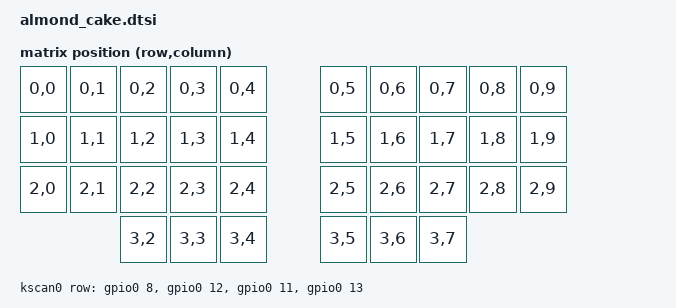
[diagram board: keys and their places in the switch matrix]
#include <dt-bindings/zmk/matrix_transform.h>

/ {
    chosen {
        zephyr,display = &oled;
        zmk,kscan = &kscan0;
        zmk,matrix-transform = &default_transform;
    };

    default_transform: keymap_transform_0 {
        compatible = "zmk,matrix-transform";
        columns = <10>;
        rows = <4>;
// | SW1  | SW2  | SW3  | SW4  | SW5  |   | SW5  | SW4  | SW3  | SW2  | SW1  |
// | SW6  | SW7  | SW8  | SW9  | SW10 |   | SW10 | SW9  | SW8  | SW7  | SW6  |
// | SW11 | SW12 | SW13 | SW14 | SW15 |   | SW15 | SW14 | SW13 | SW12 | SW11 |
//               | SW16 | SW17 | SW18 |   | SW18 | SW17 | SW16 |
        map = <
RC(0,0) RC(0,1) RC(0,2) RC(0,3) RC(0,4)  RC(0,5) RC(0,6) RC(0,7) RC(0,8) RC(0,9)
RC(1,0) RC(1,1) RC(1,2) RC(1,3) RC(1,4)  RC(1,5) RC(1,6) RC(1,7) RC(1,8) RC(1,9)
RC(2,0) RC(2,1) RC(2,2) RC(2,3) RC(2,4)  RC(2,5) RC(2,6) RC(2,7) RC(2,8) RC(2,9)
                RC(3,2) RC(3,3) RC(3,4)  RC(3,5) RC(3,6) RC(3,7)
        >;
    };

    kscan0: kscan {
        compatible = "zmk,kscan-gpio-matrix";
        wakeup-source;

        diode-direction = "col2row";
        row-gpios
            = <&gpio0 8 (GPIO_ACTIVE_HIGH | GPIO_PULL_DOWN)>
            , <&gpio0 12 (GPIO_ACTIVE_HIGH | GPIO_PULL_DOWN)>
            , <&gpio0 11 (GPIO_ACTIVE_HIGH | GPIO_PULL_DOWN)>
            , <&gpio0 13 (GPIO_ACTIVE_HIGH | GPIO_PULL_DOWN)>
            ;

    };
};

&pinctrl {
    i2c0_default: i2c0_default {
        group1 {
            psels = <NRF_PSEL(TWIM_SDA, 1, 9)>,
                <NRF_PSEL(TWIM_SCL, 0, 23)>;
        };
    };

    i2c0_sleep: i2c0_sleep {
        group1 {
            psels = <NRF_PSEL(TWIM_SDA, 1, 9)>,
                <NRF_PSEL(TWIM_SCL, 0, 23)>;
            low-power-enable;
        };
    };	
};



&i2c0 {
    status = "okay";

	compatible = "nordic,nrf-twi";
    pinctrl-0 = <&i2c0_default>;
    pinctrl-1 = <&i2c0_sleep>;

    oled: ssd1306@3c {
        compatible = "solomon,ssd1306fb";
        reg = <0x3c>;
        width = <128>;
        height = <32>;
        segment-offset = <0>;
        page-offset = <0>;
        display-offset = <0>;
        multiplex-ratio = <31>;
        segment-remap;
        com-invdir;
        com-sequential;
        inversion-on;
        prechargep = <0x22>;
    };
};
